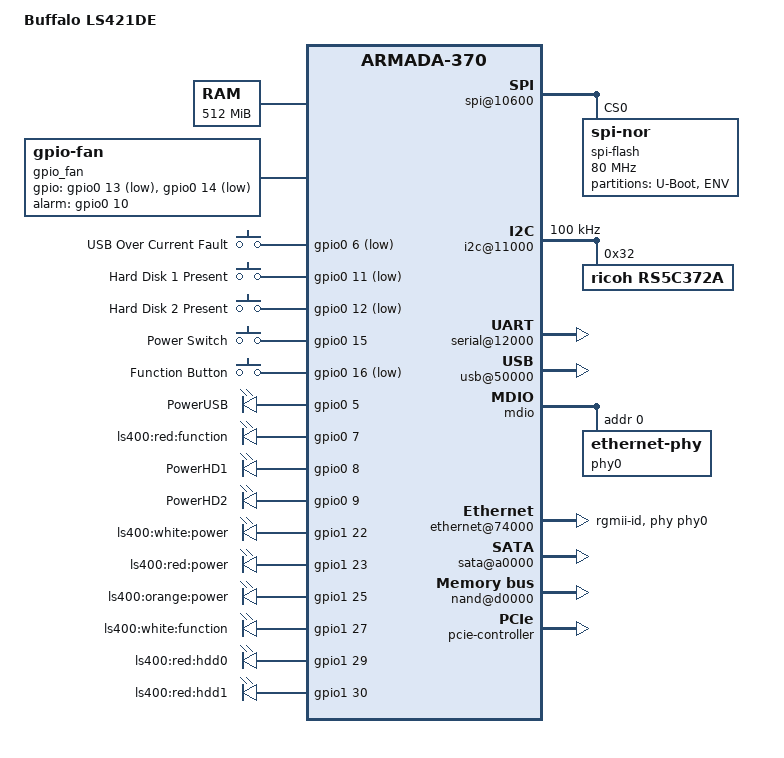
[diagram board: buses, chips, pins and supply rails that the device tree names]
/*
 * Device Tree file for Buffalo LS421DE
 *
 * Copyright (C) 2014, 2016
 * Steve Shih <shihsung@gmail.com>
 *
 * This file is licensed under the terms of the GNU General Public
 * License version 2.  This program is licensed "as is" without any
 * warranty of any kind, whether express or implied.
 */

/dts-v1/;

#include <dt-bindings/input/input.h>
#include <dt-bindings/gpio/gpio.h>
#include "armada-370.dtsi"

/ {
	model = "Buffalo LS421DE";
	compatible = "buffalo,ls400",
		     "marvell,armada370", "marvell,armada-370-xp";

	aliases {
		spi0 = &spi0;
	};

	chosen {
		stdout-path = "serial0:115200n8";
	};

	memory {
		device_type = "memory";
		reg = <0x00000000 0x20000000>; /* 512 MB */
	};

	soc {
		ranges = <MBUS_ID(0xf0, 0x01) 0 0xf1000000 0x100000
			  MBUS_ID(0x01, 0xe0) 0 0xfff00000 0x100000>;
		u-boot,dm-pre-reloc;

		internal-regs {
			spi@10600 {
				status = "okay";
				pinctrl-0 = <&spi0_pins2>;
				pinctrl-names = "default";
				u-boot,dm-pre-reloc;

				spi-flash@0 {
					#address-cells = <1>;
					#size-cells = <1>;
					compatible = "jedec,spi-nor";
					reg = <0>;
					spi-max-frequency = <80000000>;
					mode = <3>;

					partition@0 {
						reg = <0x0 0xf0000>;
						label = "U-Boot";
					};

					partition@f0000 {
						reg = <0xf0000 0x10000>;
						label = "ENV";
					};
				};
			};

			i2c@11000 {
				clock-frequency = <100000>;
				status = "okay";

				rs5c372a: rs5c372a@32 {
					compatible = "ricoh,rs5c372a";
					reg = <0x32>;
				};
			};

			serial@12000 {
				status = "okay";
				u-boot,dm-pre-reloc;
			};

			usb@50000 {
				status = "okay";
			};

			mdio {
				/* Marvell 88E1518 */
				phy0: ethernet-phy@0 {
					reg = <0>;
					marvell,reg-init = <0x3 0x10
							    0xf000 0x091e>,
							   <0x3 0x11
							    0xfff0 0x0001>;
				};
			};

			ethernet@74000 {
				status = "okay";
				phy = <&phy0>;
				phy-mode = "rgmii-id";
			};

			sata@a0000 {
				nr-ports = <2>;
				status = "okay";
			};

			nand@d0000 {
				status = "okay";
				num-cs = <1>;
				marvell,nand-keep-config;
				marvell,nand-enable-arbiter;
				nand-on-flash-bbt;
				nand-ecc-strength = <4>;
				nand-ecc-step-size = <512>;

				partition@0 {
					label = "UBIFS";
					reg = <0x0 0x20000000>;
				};
			};
		};

		pcie-controller {
			status = "okay";

			/* Connected to NEC D720202 USB 3.0 xHCI controller */
			pcie@1,0 {
				/* Port 0, Lane 0 */
				status = "okay";
			};
		};
	};

	gpio_fan {
		compatible = "gpio-fan";
		pinctrl-0 = <&fan_lock
			     &fan_low
			     &fan_high>;
		pinctrl-names = "default";
		gpios = <&gpio0 13 GPIO_ACTIVE_LOW
			 &gpio0 14 GPIO_ACTIVE_LOW>;
		gpio-fan,speed-map = <   0 3
				      1500 2
				      2000 1
				      2400 0>;
		alarm-gpios = <&gpio0 10 GPIO_ACTIVE_HIGH>;
	};

	gpio-keys {
		compatible = "gpio-keys";
		pinctrl-0 = <&usb_oc_n
			     &hdd_hot0_n
			     &hdd_hot1_n
			     &power_sw_n
			     &func_sw_n>;
		pinctrl-names = "default";

		usb-oc {
			label = "USB Over Current Fault";
			linux,code = <KEY_EXIT>;
			gpios = <&gpio0 6 GPIO_ACTIVE_LOW>;
		};

		hdd0-hot {
			label = "Hard Disk 1 Present";
			linux,code = <KEY_PROG1>;
			gpios = <&gpio0 11 GPIO_ACTIVE_LOW>;
		};

		hdd1-hot {
			label = "Hard Disk 2 Present";
			linux,code = <KEY_PROG2>;
			gpios = <&gpio0 12 GPIO_ACTIVE_LOW>;
		};

		power-switch {
			label = "Power Switch";
			linux,code = <KEY_POWER>;
			gpios = <&gpio0 15 GPIO_ACTIVE_HIGH>;
			debounce-interval = <3000>;
		};

		func-button {
			label = "Function Button";
			linux,code = <KEY_EJECTCD>;
			gpios = <&gpio0 16 GPIO_ACTIVE_LOW>;
			debounce-interval = <3000>;
		};
	};

	gpio-leds {
		compatible = "gpio-leds";
		pinctrl-0 = <&usb_on
			     &func_red
			     &hdd_pwr0
			     &hdd_pwr1
			     &power_led
			     &err_led
			     &info_led
			     &func_led
			     &hdd0_err_led
			     &hdd1_err_led>;
		pinctrl-names = "default";

		usb-power {
			label = "PowerUSB";
			gpios = <&gpio0 5 GPIO_ACTIVE_HIGH>;
			default-state = "on";
		};

		func-red {
			label = "ls400:red:function";
			gpios = <&gpio0 7 GPIO_ACTIVE_HIGH>;
			default-state = "off";
		};

		hd0-power {
			label = "PowerHD1";
			gpios = <&gpio0 8 GPIO_ACTIVE_HIGH>;
			default-state = "keep";
		};

		hd1-power {
			label = "PowerHD2";
			gpios = <&gpio0 9 GPIO_ACTIVE_HIGH>;
			default-state = "keep";
		};

		power-led {
			label = "ls400:white:power";
			gpios = <&gpio1 22 GPIO_ACTIVE_HIGH>;
			default-state = "on";
		};

		err-led {
			label = "ls400:red:power";
			gpios = <&gpio1 23 GPIO_ACTIVE_HIGH>;
			default-state = "off";
		};

		info-led {
			label = "ls400:orange:power";
			gpios = <&gpio1 25 GPIO_ACTIVE_HIGH>;
			default-state = "off";
		};

		func-led {
			label = "ls400:white:function";
			gpios = <&gpio1 27 GPIO_ACTIVE_HIGH>;
			default-state = "off";
		};

		hdd0-err-led {
			label = "ls400:red:hdd0";
			gpios = <&gpio1 29 GPIO_ACTIVE_HIGH>;
			default-state = "off";
		};

		hdd1-err-led {
			label = "ls400:red:hdd1";
			gpios = <&gpio1 30 GPIO_ACTIVE_HIGH>;
			default-state = "off";
		};
	};

	restart_poweroff {
		compatible = "restart-poweroff";
	};
};

&pinctrl {
	/* out: default 1 */
	usb_on: usb-on {
		marvell,pins = "mpp5";
		marvell,function = "gpo";
	};

	/* in */
	usb_oc_n: usb-oc-n {
		marvell,pins = "mpp6";
		marvell,function = "gpio";
	};

	/* out: default 0 */
	func_red: func-red {
		marvell,pins = "mpp7";
		marvell,function = "gpo";
	};

	/* out: default 1 */
	hdd_pwr0: hdd-pwr0 {
		marvell,pins = "mpp8";
		marvell,function = "gpio";
	};

	/* out: default 1 */
	hdd_pwr1: hdd-pwr1 {
		marvell,pins = "mpp9";
		marvell,function = "gpo";
	};

	/* in */
	fan_lock: fan-lock {
		marvell,pins = "mpp10";
		marvell,function = "gpio";
	};

	/* in */
	hdd_hot0_n: hdd-hot0-n {
		marvell,pins = "mpp11";
		marvell,function = "gpio";
	};

	/* in */
	hdd_hot1_n: hdd-hot1-n {
		marvell,pins = "mpp12";
		marvell,function = "gpio";
	};

	/* out: default 0 */
	fan_high: fan-high {
		marvell,pins = "mpp13";
		marvell,function = "gpio";
	};

	/* out: default 0 */
	fan_low: fan-low {
		marvell,pins = "mpp14";
		marvell,function = "gpio";
	};

	/* in */
	power_sw_n: power-sw-n {
		marvell,pins = "mpp15";
		marvell,function = "gpio";
	};

	/* in */
	func_sw_n: func-sw-n {
		marvell,pins = "mpp16";
		marvell,function = "gpio";
	};

	/* in */
	uart_en_n: uart-en-n {
		marvell,pins = "mpp31";
		marvell,function = "gpio";
	};

	/* in */
	usb3_irq: usb3-irq {
		marvell,pins = "mpp53";
		marvell,function = "gpio";
	};

	/* out: default 1 */
	power_led: power-led {
		marvell,pins = "mpp54";
		marvell,function = "gpo";
	};

	/* out: default 0 */
	err_led: err-led {
		marvell,pins = "mpp55";
		marvell,function = "gpio";
	};

	/* out: default 0 */
	info_led: info-led {
		marvell,pins = "mpp57";
		marvell,function = "gpio";
	};

	/* out: default 1 */
	cpu_off_n: cpu-off-n {
		marvell,pins = "mpp58";
		marvell,function = "gpio";
	};

	/* out: default 0 */
	func_led: func-led {
		marvell,pins = "mpp59";
		marvell,function = "gpo";
	};

	/* out: default 0 */
	hdd0_err_led: hdd0-err-led {
		marvell,pins = "mpp61";
		marvell,function = "gpo";
	};

	/* out: default 0 */
	hdd1_err_led: hdd1-err-led {
		marvell,pins = "mpp62";
		marvell,function = "gpio";
	};
};
